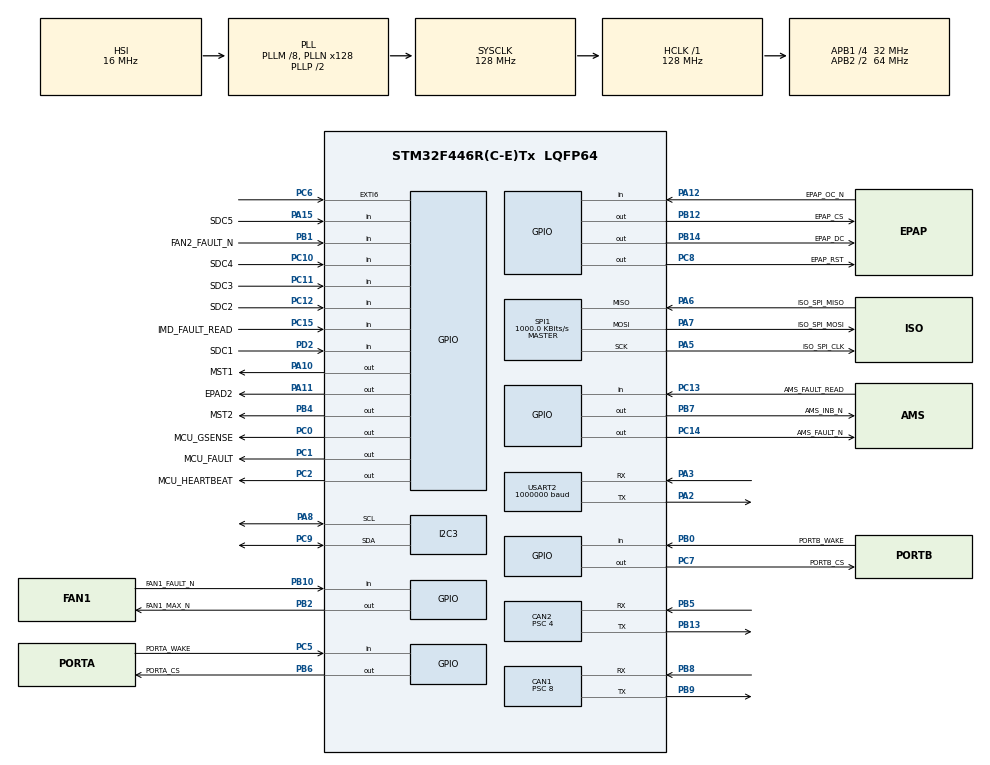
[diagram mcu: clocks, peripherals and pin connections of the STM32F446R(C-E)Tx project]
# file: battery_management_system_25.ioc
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CAN1.ABOM=ENABLE
CAN1.AWUM=ENABLE
CAN1.BS1=CAN_BS1_6TQ
CAN1.CalculateBaudRate=500000
CAN1.CalculateTimeBit=2000
CAN1.CalculateTimeQuantum=250.0
CAN1.Prescaler=8
CAN2.ABOM=ENABLE
CAN2.AWUM=ENABLE
CAN2.BS1=CAN_BS1_6TQ
CAN2.CalculateBaudRate=1000000
CAN2.CalculateTimeBit=1000
CAN2.CalculateTimeQuantum=125.0
CAN2.Prescaler=4
Dma.Request0=SPI1_TX
Dma.Request1=SPI1_RX
Dma.SPI1_RX.1.Direction=DMA_PERIPH_TO_MEMORY
Dma.SPI1_RX.1.FIFOMode=DMA_FIFOMODE_DISABLE
Dma.SPI1_RX.1.Instance=DMA2_Stream2
Dma.SPI1_RX.1.MemDataAlignment=DMA_MDATAALIGN_BYTE
Dma.SPI1_RX.1.MemInc=DMA_MINC_ENABLE
Dma.SPI1_RX.1.Mode=DMA_NORMAL
Dma.SPI1_RX.1.PeriphDataAlignment=DMA_PDATAALIGN_BYTE
Dma.SPI1_RX.1.PeriphInc=DMA_PINC_DISABLE
Dma.SPI1_RX.1.Priority=DMA_PRIORITY_HIGH
Dma.SPI1_TX.0.Direction=DMA_MEMORY_TO_PERIPH
Dma.SPI1_TX.0.FIFOMode=DMA_FIFOMODE_DISABLE
Dma.SPI1_TX.0.Instance=DMA2_Stream3
Dma.SPI1_TX.0.MemDataAlignment=DMA_MDATAALIGN_BYTE
Dma.SPI1_TX.0.MemInc=DMA_MINC_ENABLE
Dma.SPI1_TX.0.Mode=DMA_NORMAL
Dma.SPI1_TX.0.PeriphDataAlignment=DMA_PDATAALIGN_BYTE
Dma.SPI1_TX.0.PeriphInc=DMA_PINC_DISABLE
Dma.SPI1_TX.0.Priority=DMA_PRIORITY_HIGH
FREERTOS.INCLUDE_vTaskDelayUntil=1
FREERTOS.Tasks01=telemetryTask,2,4096,startTelemetryTask,Default,NULL,Static,telemetryTaskBuffer,telemetryControlTaskBlock;printTask,-2,2048,startPrintTask,Default,NULL,Static,printTaskBuffer,printTaskControlBlock;statusUpdateTas,-3,128,startStatusUpdateTask,Default,NULL,Static,statusUpdateTaskBuffer,statusUpdateTaskControlBlock;serviceGcan,0,1024,startServiceGcanTask,Default,NULL,Static,serviceGcanTaskBuffer,serviceGcanTaskControlBlock;chargerTask,1,1024,startChargerTask,Default,NULL,Static,chargerTaskBuffer,chargerTaskControlBlock
Mcu.Family=STM32F4
Mcu.Name=STM32F446R(C-E)Tx
Mcu.Package=LQFP64
NVIC.CAN1_RX0_IRQn=true\:5\:0\:false\:false\:true\:true\:true\:true\:true
NVIC.CAN1_RX1_IRQn=true\:5\:0\:false\:false\:true\:true\:true\:true\:true
NVIC.CAN1_TX_IRQn=true\:5\:0\:false\:false\:true\:true\:true\:true\:true
NVIC.CAN2_RX0_IRQn=true\:5\:0\:false\:false\:true\:true\:true\:true\:true
NVIC.CAN2_RX1_IRQn=true\:5\:0\:false\:false\:true\:true\:true\:true\:true
NVIC.CAN2_TX_IRQn=true\:5\:0\:false\:false\:true\:true\:true\:true\:true
NVIC.DMA2_Stream2_IRQn=true\:5\:0\:true\:false\:true\:false\:false\:true\:true
NVIC.DMA2_Stream3_IRQn=true\:5\:0\:false\:false\:true\:true\:false\:true\:true
NVIC.PriorityGroup=NVIC_PRIORITYGROUP_4
NVIC.SPI1_IRQn=true\:5\:0\:false\:false\:true\:true\:true\:true\:true
NVIC.TIM1_BRK_TIM9_IRQn=true\:5\:0\:false\:false\:true\:true\:true\:true\:true
NVIC.TIM6_DAC_IRQn=true\:15\:0\:false\:false\:true\:false\:false\:true\:true
NVIC.TIM7_IRQn=true\:5\:0\:false\:false\:true\:true\:true\:true\:true
NVIC.TimeBase=TIM6_DAC_IRQn
NVIC.TimeBaseIP=TIM6
PA10.GPIO_Label=MST1
PA10.Signal=GPIO_Output
PA11.GPIO_Label=EPAD2
PA11.Signal=GPIO_Output
PA12.GPIO_Label=EPAP_OC_N
PA12.Signal=GPIO_Input
PA13.Mode=Trace_Asynchronous_SW
PA13.Signal=SYS_JTMS-SWDIO
PA14.Mode=Trace_Asynchronous_SW
PA14.Signal=SYS_JTCK-SWCLK
PA15.GPIO_Label=SDC5
PA15.Signal=GPIO_Input
PA2.Mode=Asynchronous
PA2.Signal=USART2_TX
PA3.Mode=Asynchronous
PA3.Signal=USART2_RX
PA5.GPIO_Label=ISO_SPI_CLK
PA5.Mode=Full_Duplex_Master
PA5.Signal=SPI1_SCK
PA6.GPIO_Label=ISO_SPI_MISO
PA6.Mode=Full_Duplex_Master
PA6.Signal=SPI1_MISO
PA7.GPIO_Label=ISO_SPI_MOSI
PA7.Mode=Full_Duplex_Master
PA7.Signal=SPI1_MOSI
PA8.Mode=I2C
PA8.Signal=I2C3_SCL
PB0.GPIO_Label=PORTB_WAKE
PB0.Signal=GPIO_Input
PB1.GPIO_Label=FAN2_FAULT_N
PB1.Signal=GPIO_Input
PB10.GPIO_Label=FAN1_FAULT_N
PB10.Signal=GPIO_Input
PB12.GPIO_Label=EPAP_CS
PB12.Signal=GPIO_Output
PB13.Mode=CAN_Activate
PB13.Signal=CAN2_TX
PB14.GPIO_Label=EPAP_DC
PB14.Signal=GPIO_Output
PB2.GPIO_Label=FAN1_MAX_N
PB2.Signal=GPIO_Output
PB3.Mode=Trace_Asynchronous_SW
PB3.Signal=SYS_JTDO-SWO
PB4.GPIO_Label=MST2
PB4.Signal=GPIO_Output
PB5.Mode=CAN_Activate
PB5.Signal=CAN2_RX
PB6.GPIO_Label=PORTA_CS
PB6.Signal=GPIO_Output
PB7.GPIO_Label=AMS_INB_N
PB7.Signal=GPIO_Output
PB8.Mode=CAN_Activate
PB8.Signal=CAN1_RX
PB9.Mode=CAN_Activate
PB9.Signal=CAN1_TX
PC0.GPIO_Label=MCU_GSENSE
PC0.Signal=GPIO_Output
PC1.GPIO_Label=MCU_FAULT
PC1.Signal=GPIO_Output
PC10.GPIO_Label=SDC4
PC10.Signal=GPIO_Input
PC11.GPIO_Label=SDC3
PC11.Signal=GPIO_Input
PC12.GPIO_Label=SDC2
PC12.Signal=GPIO_Input
PC13.GPIO_Label=AMS_FAULT_READ
PC13.Signal=GPIO_Input
PC14-OSC32_IN.GPIO_Label=AMS_FAULT_N
PC14-OSC32_IN.Signal=GPIO_Output
PC15-OSC32_OUT.GPIO_Label=IMD_FAULT_READ
PC15-OSC32_OUT.Signal=GPIO_Input
PC2.GPIO_Label=MCU_HEARTBEAT
PC2.Signal=GPIO_Output
PC5.GPIO_Label=PORTA_WAKE
PC5.Signal=GPIO_Input
PC6.Signal=GPXTI6
PC7.GPIO_Label=PORTB_CS
PC7.Signal=GPIO_Output
PC8.GPIO_Label=EPAP_RST
PC8.Signal=GPIO_Output
PC9.Mode=I2C
PC9.Signal=I2C3_SDA
PD2.GPIO_Label=SDC1
PD2.Signal=GPIO_Input
PH0-OSC_IN.Mode=HSE-External-Oscillator
PH0-OSC_IN.Signal=RCC_OSC_IN
PH1-OSC_OUT.Mode=HSE-External-Oscillator
PH1-OSC_OUT.Signal=RCC_OSC_OUT
ProjectManager.HeapSize=0x200
ProjectManager.StackSize=0x400
ProjectManager.TargetToolchain=CMake
RCC.AHBFreq_Value=128000000
RCC.APB1CLKDivider=RCC_HCLK_DIV4
RCC.APB1Freq_Value=32000000
RCC.APB1TimFreq_Value=64000000
RCC.APB2CLKDivider=RCC_HCLK_DIV2
RCC.APB2Freq_Value=64000000
RCC.APB2TimFreq_Value=128000000
RCC.CortexFreq_Value=128000000
RCC.HCLKFreq_Value=128000000
RCC.HSE_VALUE=8000000
RCC.PLLM=8
RCC.PLLN=128
RCC.SYSCLKFreq_VALUE=128000000
RCC.SYSCLKSource=RCC_SYSCLKSOURCE_PLLCLK
RCC.USBFreq_Value=128000000
RCC.VCOOutputFreq_Value=256000000
SPI1.BaudRatePrescaler=SPI_BAUDRATEPRESCALER_64
SPI1.CLKPhase=SPI_PHASE_2EDGE
SPI1.CLKPolarity=SPI_POLARITY_HIGH
SPI1.CalculateBaudRate=1000.0 KBits/s
SPI1.Direction=SPI_DIRECTION_2LINES
SPI1.Mode=SPI_MODE_MASTER
SPI1.VirtualType=VM_MASTER
TIM5.Prescaler=64-1
TIM7.Prescaler=64-1
TIM9.Prescaler=512-1
USART2.BaudRate=1000000
USART2.VirtualMode=VM_ASYNC
VP_FREERTOS_VS_CMSIS_V1.Mode=CMSIS_V1
VP_SYS_VS_tim6.Mode=TIM6
VP_TIM5_VS_ClockSourceINT.Mode=Internal
VP_TIM7_VS_ClockSourceINT.Mode=Enable_Timer
VP_TIM9_VS_ClockSourceINT.Mode=Internal
board=custom

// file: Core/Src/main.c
/* USER CODE BEGIN Header */
/**
  ******************************************************************************
  * @file           : main.c
  * @brief          : Main program body
  ******************************************************************************
  * @attention
  *
  * Copyright (c) 2024 STMicroelectronics.
  * All rights reserved.
  *
  * This software is licensed under terms that can be found in the LICENSE file
  * in the root directory of this software component.
  * If no LICENSE file comes with this software, it is provided AS-IS.
  *
  ******************************************************************************
  */
/* USER CODE END Header */
#include "main.h"
#include "cmsis_os.h"

/* USER CODE BEGIN Includes */
#include <stdbool.h>
#include "printTask.h"
#include "gcanUpdateTask.h"
#include "utils.h"

#include "GopherCAN.h"
#include "gopher_sense.h"

/* USER CODE END Includes */

CAN_HandleTypeDef hcan1;
CAN_HandleTypeDef hcan2;

I2C_HandleTypeDef hi2c3;

SPI_HandleTypeDef hspi1;
DMA_HandleTypeDef hdma_spi1_tx;
DMA_HandleTypeDef hdma_spi1_rx;

TIM_HandleTypeDef htim5;
TIM_HandleTypeDef htim7;
TIM_HandleTypeDef htim9;

UART_HandleTypeDef huart2;

osThreadId telemetryTaskHandle;
uint32_t telemetryTaskBuffer[ 4096 ];
osStaticThreadDef_t telemetryControlTaskBlock;
osThreadId printTaskHandle;
uint32_t printTaskBuffer[ 2048 ];
osStaticThreadDef_t printTaskControlBlock;
osThreadId statusUpdateTasHandle;
uint32_t statusUpdateTaskBuffer[ 128 ];
osStaticThreadDef_t statusUpdateTaskControlBlock;
osThreadId serviceGcanHandle;
uint32_t serviceGcanTaskBuffer[ 1024 ];
osStaticThreadDef_t serviceGcanTaskControlBlock;
osThreadId chargerTaskHandle;
uint32_t chargerTaskBuffer[ 1024 ];
osStaticThreadDef_t chargerTaskControlBlock;
/* USER CODE BEGIN PV */

telemetryTaskData_S telemetryTaskData;
statusUpdateTaskData_S statusUpdateTaskData;
chargerTaskData_S chargerTaskData;

volatile bool usDelayActive;

// Imd pwm status variables
volatile uint32_t imdFrequency;
volatile uint32_t imdDutyCycle;
volatile uint32_t imdLastUpdate;

/* USER CODE END PV */

void SystemClock_Config(void);
static void MX_GPIO_Init(void);
static void MX_DMA_Init(void);
static void MX_TIM7_Init(void);
static void MX_SPI1_Init(void);
static void MX_CAN2_Init(void);
static void MX_TIM9_Init(void);
static void MX_TIM5_Init(void);
static void MX_CAN1_Init(void);
static void MX_I2C3_Init(void);
static void MX_USART2_UART_Init(void);
void startTelemetryTask(void const * argument);
void startPrintTask(void const * argument);
void startStatusUpdateTask(void const * argument);
void startServiceGcanTask(void const * argument);
void startChargerTask(void const * argument);

/* USER CODE BEGIN PFP */
#ifdef __GNUC__
#define PUTCHAR_PROTOTYPE int __io_putchar(int ch)
#define GETCHAR_PROTOTYPE int __io_getchar(void)
#else
#define PUTCHAR_PROTOTYPE int fputc(int ch, FILE *f)
#define GETCHAR_PROTOTYPE int fgetc(FILE *f)
#endif

PUTCHAR_PROTOTYPE
{
  HAL_UART_Transmit(&huart2, (uint8_t *)&ch, 1, HAL_MAX_DELAY);
  return ch;
}

GETCHAR_PROTOTYPE
{
  uint8_t ch = 0;

  /* Clear the Overrun flag just before receiving the first character */
  __HAL_UART_CLEAR_OREFLAG(&huart2);

  /* Wait for reception of a character on the USART RX line and echo this
   * character on console */
  HAL_UART_Receive(&huart2, (uint8_t *)&ch, 1, HAL_MAX_DELAY);
  HAL_UART_Transmit(&huart2, (uint8_t *)&ch, 1, HAL_MAX_DELAY);
  return ch;
}
/* USER CODE END PFP */

/* USER CODE BEGIN 0 */

/*!
  @brief   Interrupt when SPI TX/RX finishes. Unblock task by releasing
  	  	   semaphore
  @param   SPI Handle
*/
void HAL_SPI_TxRxCpltCallback(SPI_HandleTypeDef *hspi)
{
	if (hspi == &hspi1)
	{
		static BaseType_t xHigherPriorityTaskWoken = pdFALSE;
		xTaskNotifyFromISR(telemetryTaskHandle, SPI_SUCCESS, eSetBits, &xHigherPriorityTaskWoken);
		portYIELD_FROM_ISR(xHigherPriorityTaskWoken);
	}
}

void HAL_SPI_TxCpltCallback(SPI_HandleTypeDef *hspi)
{
	if (hspi == &hspi1)
	{
		static BaseType_t xHigherPriorityTaskWoken = pdFALSE;
		xTaskNotifyFromISR(telemetryTaskHandle, SPI_SUCCESS, eSetBits, &xHigherPriorityTaskWoken);
		portYIELD_FROM_ISR(xHigherPriorityTaskWoken);
	}
}

void HAL_SPI_ErrorCallback(SPI_HandleTypeDef *hspi)
{
  if (hspi == &hspi1)
	{
		static BaseType_t xHigherPriorityTaskWoken = pdFALSE;
    xTaskNotifyFromISR(telemetryTaskHandle, SPI_ERROR, eSetBits, &xHigherPriorityTaskWoken);
		portYIELD_FROM_ISR(xHigherPriorityTaskWoken);
	}
}

void HAL_SPI_AbortCpltCallback(SPI_HandleTypeDef *hspi)
{
  if (hspi == &hspi1)
	{
		static BaseType_t xHigherPriorityTaskWoken = pdFALSE;
    xTaskNotifyFromISR(telemetryTaskHandle, SPI_ERROR, eSetBits, &xHigherPriorityTaskWoken);
		portYIELD_FROM_ISR(xHigherPriorityTaskWoken);
	}
}

/*!
  @brief   Interrupt when Timer input capture triggered
  @param   TIM Handle
*/
void HAL_TIM_IC_CaptureCallback(TIM_HandleTypeDef *htim)
{
	if ((htim == &htim9) && (htim->Channel == HAL_TIM_ACTIVE_CHANNEL_1))  // If the interrupt is triggered by channel 1 (Rising edge detection)
	{
    // Record imd update time
    imdLastUpdate = HAL_GetTick();

		// Read the raw IC value of the timer with rising edge detection
		uint32_t inputCaptureRaw = HAL_TIM_ReadCapturedValue(htim, TIM_CHANNEL_1);
    // Prevent divide by 0
		if(inputCaptureRaw != 0)
		{
			// Calculate the Duty Cycle
      // The captured value in channel one contains the timestamp of the falling edge. Since the timer is reset
      // on a rising edge this contains the pulse width of the high time. This value is then divided by
      // inputCaptureRaw - which is the period of the PWM cycle in timer ticks to get duty cycle
			imdDutyCycle = (HAL_TIM_ReadCapturedValue(htim, TIM_CHANNEL_2) * 100) / inputCaptureRaw;

      // Calculate the Frequency
      // The timer CLK runs at 2x frequency of PCLK2. This is then divided by the prescalar.
      uint32_t timerFrequency = (HAL_RCC_GetPCLK2Freq() * 2) / htim9.Init.Prescaler;
      // Frequency scaling
			imdFrequency =  timerFrequency / inputCaptureRaw;
		}
	}
}

/* USER CODE END 0 */

int main(void)
{

  /* USER CODE BEGIN 1 */
  // while (1){

  //   printf("hi");

  // }

  /* USER CODE END 1 */

  /* MCU Configuration--------------------------------------------------------*/

  /* Reset of all peripherals, Initializes the Flash interface and the Systick. */
  HAL_Init();

  /* Configure the system clock */
  SystemClock_Config();

  /* Initialize all configured peripherals */
  MX_GPIO_Init();
  MX_DMA_Init();
  MX_TIM7_Init();
  MX_SPI1_Init();
  MX_CAN2_Init();
  MX_TIM9_Init();
  MX_TIM5_Init();
  MX_CAN1_Init();
  MX_I2C3_Init();
  MX_USART2_UART_Init();
  /* USER CODE BEGIN 2 */

  // Start IMD input capture
  HAL_TIM_IC_Start_IT(&htim9, TIM_CHANNEL_1);
  HAL_TIM_IC_Start(&htim9, TIM_CHANNEL_2);

  // Start global timebase uS timer
  HAL_TIM_Base_Start(&htim5);

  init_can(&hcan1, GCAN2);
  init_can(&hcan2, GCAN0);
  gsense_init(&hcan2, MCU_GSENSE_GPIO_Port, MCU_GSENSE_Pin);

  /* USER CODE END 2 */

  /* Create the thread(s) */
  /* definition and creation of telemetryTask */
  osThreadStaticDef(telemetryTask, startTelemetryTask, osPriorityHigh, 0, 4096, telemetryTaskBuffer, &telemetryControlTaskBlock);
  telemetryTaskHandle = osThreadCreate(osThread(telemetryTask), NULL);

  /* definition and creation of printTask */
  osThreadStaticDef(printTask, startPrintTask, osPriorityLow, 0, 2048, printTaskBuffer, &printTaskControlBlock);
  printTaskHandle = osThreadCreate(osThread(printTask), NULL);

  /* definition and creation of statusUpdateTas */
  osThreadStaticDef(statusUpdateTas, startStatusUpdateTask, osPriorityIdle, 0, 128, statusUpdateTaskBuffer, &statusUpdateTaskControlBlock);
  statusUpdateTasHandle = osThreadCreate(osThread(statusUpdateTas), NULL);

  /* definition and creation of serviceGcan */
  osThreadStaticDef(serviceGcan, startServiceGcanTask, osPriorityNormal, 0, 1024, serviceGcanTaskBuffer, &serviceGcanTaskControlBlock);
  serviceGcanHandle = osThreadCreate(osThread(serviceGcan), NULL);

  /* definition and creation of chargerTask */
  osThreadStaticDef(chargerTask, startChargerTask, osPriorityAboveNormal, 0, 1024, chargerTaskBuffer, &chargerTaskControlBlock);
  chargerTaskHandle = osThreadCreate(osThread(chargerTask), NULL);

  /* Start scheduler */
  osKernelStart();

  /* We should never get here as control is now taken by the scheduler */

  /* Infinite loop */
  while (1)
  {

  }
}

void SystemClock_Config(void)
{
  RCC_OscInitTypeDef RCC_OscInitStruct = {0};
  RCC_ClkInitTypeDef RCC_ClkInitStruct = {0};

  /** Configure the main internal regulator output voltage
  */
  __HAL_RCC_PWR_CLK_ENABLE();
  __HAL_PWR_VOLTAGESCALING_CONFIG(PWR_REGULATOR_VOLTAGE_SCALE2);

  /** Initializes the RCC Oscillators according to the specified parameters
  * in the RCC_OscInitTypeDef structure.
  */
  RCC_OscInitStruct.OscillatorType = RCC_OSCILLATORTYPE_HSI;
  RCC_OscInitStruct.HSIState = RCC_HSI_ON;
  RCC_OscInitStruct.HSICalibrationValue = RCC_HSICALIBRATION_DEFAULT;
  RCC_OscInitStruct.PLL.PLLState = RCC_PLL_ON;
  RCC_OscInitStruct.PLL.PLLSource = RCC_PLLSOURCE_HSI;
  RCC_OscInitStruct.PLL.PLLM = 8;
  RCC_OscInitStruct.PLL.PLLN = 128;
  RCC_OscInitStruct.PLL.PLLP = RCC_PLLP_DIV2;
  RCC_OscInitStruct.PLL.PLLQ = 2;
  RCC_OscInitStruct.PLL.PLLR = 2;
  if (HAL_RCC_OscConfig(&RCC_OscInitStruct) != HAL_OK)
  {
    Error_Handler();
  }

  /** Initializes the CPU, AHB and APB buses clocks
  */
  RCC_ClkInitStruct.ClockType = RCC_CLOCKTYPE_HCLK|RCC_CLOCKTYPE_SYSCLK
                              |RCC_CLOCKTYPE_PCLK1|RCC_CLOCKTYPE_PCLK2;
  RCC_ClkInitStruct.SYSCLKSource = RCC_SYSCLKSOURCE_PLLCLK;
  RCC_ClkInitStruct.AHBCLKDivider = RCC_SYSCLK_DIV1;
  RCC_ClkInitStruct.APB1CLKDivider = RCC_HCLK_DIV4;
  RCC_ClkInitStruct.APB2CLKDivider = RCC_HCLK_DIV2;

  if (HAL_RCC_ClockConfig(&RCC_ClkInitStruct, FLASH_LATENCY_4) != HAL_OK)
  {
    Error_Handler();
  }
}

static void MX_CAN1_Init(void)
{

  hcan1.Instance = CAN1;
  hcan1.Init.Prescaler = 8;
  hcan1.Init.Mode = CAN_MODE_NORMAL;
  hcan1.Init.SyncJumpWidth = CAN_SJW_1TQ;
  hcan1.Init.TimeSeg1 = CAN_BS1_6TQ;
  hcan1.Init.TimeSeg2 = CAN_BS2_1TQ;
  hcan1.Init.TimeTriggeredMode = DISABLE;
  hcan1.Init.AutoBusOff = ENABLE;
  hcan1.Init.AutoWakeUp = ENABLE;
  hcan1.Init.AutoRetransmission = DISABLE;
  hcan1.Init.ReceiveFifoLocked = DISABLE;
  hcan1.Init.TransmitFifoPriority = DISABLE;
  if (HAL_CAN_Init(&hcan1) != HAL_OK)
  {
    Error_Handler();
  }

}

static void MX_CAN2_Init(void)
{

  hcan2.Instance = CAN2;
  hcan2.Init.Prescaler = 4;
  hcan2.Init.Mode = CAN_MODE_NORMAL;
  hcan2.Init.SyncJumpWidth = CAN_SJW_1TQ;
  hcan2.Init.TimeSeg1 = CAN_BS1_6TQ;
  hcan2.Init.TimeSeg2 = CAN_BS2_1TQ;
  hcan2.Init.TimeTriggeredMode = DISABLE;
  hcan2.Init.AutoBusOff = ENABLE;
  hcan2.Init.AutoWakeUp = ENABLE;
  hcan2.Init.AutoRetransmission = DISABLE;
  hcan2.Init.ReceiveFifoLocked = DISABLE;
  hcan2.Init.TransmitFifoPriority = DISABLE;
  if (HAL_CAN_Init(&hcan2) != HAL_OK)
  {
    Error_Handler();
  }

}

static void MX_I2C3_Init(void)
{

  hi2c3.Instance = I2C3;
  hi2c3.Init.ClockSpeed = 100000;
  hi2c3.Init.DutyCycle = I2C_DUTYCYCLE_2;
  hi2c3.Init.OwnAddress1 = 0;
  hi2c3.Init.AddressingMode = I2C_ADDRESSINGMODE_7BIT;
  hi2c3.Init.DualAddressMode = I2C_DUALADDRESS_DISABLE;
  hi2c3.Init.OwnAddress2 = 0;
  hi2c3.Init.GeneralCallMode = I2C_GENERALCALL_DISABLE;
  hi2c3.Init.NoStretchMode = I2C_NOSTRETCH_DISABLE;
  if (HAL_I2C_Init(&hi2c3) != HAL_OK)
  {
    Error_Handler();
  }

}

static void MX_SPI1_Init(void)
{

  /* SPI1 parameter configuration*/
  hspi1.Instance = SPI1;
  hspi1.Init.Mode = SPI_MODE_MASTER;
  hspi1.Init.Direction = SPI_DIRECTION_2LINES;
  hspi1.Init.DataSize = SPI_DATASIZE_8BIT;
  hspi1.Init.CLKPolarity = SPI_POLARITY_HIGH;
  hspi1.Init.CLKPhase = SPI_PHASE_2EDGE;
  hspi1.Init.NSS = SPI_NSS_SOFT;
  hspi1.Init.BaudRatePrescaler = SPI_BAUDRATEPRESCALER_64;
  hspi1.Init.FirstBit = SPI_FIRSTBIT_MSB;
  hspi1.Init.TIMode = SPI_TIMODE_DISABLE;
  hspi1.Init.CRCCalculation = SPI_CRCCALCULATION_DISABLE;
  hspi1.Init.CRCPolynomial = 10;
  if (HAL_SPI_Init(&hspi1) != HAL_OK)
  {
    Error_Handler();
  }

}

static void MX_TIM5_Init(void)
{

  TIM_ClockConfigTypeDef sClockSourceConfig = {0};
  TIM_MasterConfigTypeDef sMasterConfig = {0};

  htim5.Instance = TIM5;
  htim5.Init.Prescaler = 64-1;
  htim5.Init.CounterMode = TIM_COUNTERMODE_UP;
  htim5.Init.Period = 4294967295;
  htim5.Init.ClockDivision = TIM_CLOCKDIVISION_DIV1;
  htim5.Init.AutoReloadPreload = TIM_AUTORELOAD_PRELOAD_DISABLE;
  if (HAL_TIM_Base_Init(&htim5) != HAL_OK)
  {
    Error_Handler();
  }
  sClockSourceConfig.ClockSource = TIM_CLOCKSOURCE_INTERNAL;
  if (HAL_TIM_ConfigClockSource(&htim5, &sClockSourceConfig) != HAL_OK)
  {
    Error_Handler();
  }
  sMasterConfig.MasterOutputTrigger = TIM_TRGO_RESET;
  sMasterConfig.MasterSlaveMode = TIM_MASTERSLAVEMODE_DISABLE;
  if (HAL_TIMEx_MasterConfigSynchronization(&htim5, &sMasterConfig) != HAL_OK)
  {
    Error_Handler();
  }

}

static void MX_TIM7_Init(void)
{

  TIM_MasterConfigTypeDef sMasterConfig = {0};

  htim7.Instance = TIM7;
  htim7.Init.Prescaler = 64-1;
  htim7.Init.CounterMode = TIM_COUNTERMODE_UP;
  htim7.Init.Period = 65535;
  htim7.Init.AutoReloadPreload = TIM_AUTORELOAD_PRELOAD_DISABLE;
  if (HAL_TIM_Base_Init(&htim7) != HAL_OK)
  {
    Error_Handler();
  }
  sMasterConfig.MasterOutputTrigger = TIM_TRGO_RESET;
  sMasterConfig.MasterSlaveMode = TIM_MASTERSLAVEMODE_DISABLE;
  if (HAL_TIMEx_MasterConfigSynchronization(&htim7, &sMasterConfig) != HAL_OK)
  {
    Error_Handler();
  }

}

static void MX_TIM9_Init(void)
{

  TIM_ClockConfigTypeDef sClockSourceConfig = {0};

  htim9.Instance = TIM9;
  htim9.Init.Prescaler = 512-1;
  htim9.Init.CounterMode = TIM_COUNTERMODE_UP;
  htim9.Init.Period = 65535;
  htim9.Init.ClockDivision = TIM_CLOCKDIVISION_DIV1;
  htim9.Init.AutoReloadPreload = TIM_AUTORELOAD_PRELOAD_DISABLE;
  if (HAL_TIM_Base_Init(&htim9) != HAL_OK)
  {
    Error_Handler();
  }
  sClockSourceConfig.ClockSource = TIM_CLOCKSOURCE_INTERNAL;
  if (HAL_TIM_ConfigClockSource(&htim9, &sClockSourceConfig) != HAL_OK)
  {
    Error_Handler();
  }

}

static void MX_USART2_UART_Init(void)
{

  huart2.Instance = USART2;
  huart2.Init.BaudRate = 1000000;
  huart2.Init.WordLength = UART_WORDLENGTH_8B;
  huart2.Init.StopBits = UART_STOPBITS_1;
  huart2.Init.Parity = UART_PARITY_NONE;
  huart2.Init.Mode = UART_MODE_TX_RX;
  huart2.Init.HwFlowCtl = UART_HWCONTROL_NONE;
  huart2.Init.OverSampling = UART_OVERSAMPLING_16;
  if (HAL_UART_Init(&huart2) != HAL_OK)
  {
    Error_Handler();
  }

}

static void MX_DMA_Init(void)
{

  /* DMA controller clock enable */
  __HAL_RCC_DMA2_CLK_ENABLE();

  /* DMA interrupt init */
  /* DMA2_Stream2_IRQn interrupt configuration */
  HAL_NVIC_SetPriority(DMA2_Stream2_IRQn, 5, 0);
  HAL_NVIC_EnableIRQ(DMA2_Stream2_IRQn);
  /* DMA2_Stream3_IRQn interrupt configuration */
  HAL_NVIC_SetPriority(DMA2_Stream3_IRQn, 5, 0);
  HAL_NVIC_EnableIRQ(DMA2_Stream3_IRQn);

}

static void MX_GPIO_Init(void)
{
  GPIO_InitTypeDef GPIO_InitStruct = {0};

  /* GPIO Ports Clock Enable */
  __HAL_RCC_GPIOC_CLK_ENABLE();
  __HAL_RCC_GPIOH_CLK_ENABLE();
  __HAL_RCC_GPIOA_CLK_ENABLE();
  __HAL_RCC_GPIOB_CLK_ENABLE();
  __HAL_RCC_GPIOD_CLK_ENABLE();

  /*Configure GPIO pin Output Level */
  HAL_GPIO_WritePin(GPIOC, AMS_FAULT_N_Pin|MCU_GSENSE_Pin|MCU_FAULT_Pin|MCU_HEARTBEAT_Pin
                          |PORTB_CS_Pin|EPAP_RST_Pin, GPIO_PIN_RESET);

  /*Configure GPIO pin Output Level */
  HAL_GPIO_WritePin(GPIOB, FAN1_MAX_N_Pin|EPAP_CS_Pin|EPAP_DC_Pin|MST2_Pin
                          |PORTA_CS_Pin|AMS_INB_N_Pin, GPIO_PIN_RESET);

  /*Configure GPIO pin Output Level */
  HAL_GPIO_WritePin(GPIOA, MST1_Pin|EPAD2_Pin, GPIO_PIN_RESET);

  /*Configure GPIO pins : AMS_FAULT_READ_Pin IMD_FAULT_READ_Pin PORTA_WAKE_Pin SDC4_Pin
                           SDC3_Pin SDC2_Pin */
  GPIO_InitStruct.Pin = AMS_FAULT_READ_Pin|IMD_FAULT_READ_Pin|PORTA_WAKE_Pin|SDC4_Pin
                          |SDC3_Pin|SDC2_Pin;
  GPIO_InitStruct.Mode = GPIO_MODE_INPUT;
  GPIO_InitStruct.Pull = GPIO_NOPULL;
  HAL_GPIO_Init(GPIOC, &GPIO_InitStruct);

  /*Configure GPIO pins : AMS_FAULT_N_Pin MCU_GSENSE_Pin MCU_FAULT_Pin MCU_HEARTBEAT_Pin
                           PORTB_CS_Pin EPAP_RST_Pin */
  GPIO_InitStruct.Pin = AMS_FAULT_N_Pin|MCU_GSENSE_Pin|MCU_FAULT_Pin|MCU_HEARTBEAT_Pin
                          |PORTB_CS_Pin|EPAP_RST_Pin;
  GPIO_InitStruct.Mode = GPIO_MODE_OUTPUT_PP;
  GPIO_InitStruct.Pull = GPIO_NOPULL;
  GPIO_InitStruct.Speed = GPIO_SPEED_FREQ_LOW;
  HAL_GPIO_Init(GPIOC, &GPIO_InitStruct);

  /*Configure GPIO pins : PORTB_WAKE_Pin FAN2_FAULT_N_Pin FAN1_FAULT_N_Pin */
  GPIO_InitStruct.Pin = PORTB_WAKE_Pin|FAN2_FAULT_N_Pin|FAN1_FAULT_N_Pin;
  GPIO_InitStruct.Mode = GPIO_MODE_INPUT;
  GPIO_InitStruct.Pull = GPIO_NOPULL;
  HAL_GPIO_Init(GPIOB, &GPIO_InitStruct);

  /*Configure GPIO pins : FAN1_MAX_N_Pin EPAP_CS_Pin EPAP_DC_Pin MST2_Pin
                           PORTA_CS_Pin AMS_INB_N_Pin */
  GPIO_InitStruct.Pin = FAN1_MAX_N_Pin|EPAP_CS_Pin|EPAP_DC_Pin|MST2_Pin
                          |PORTA_CS_Pin|AMS_INB_N_Pin;
  GPIO_InitStruct.Mode = GPIO_MODE_OUTPUT_PP;
  GPIO_InitStruct.Pull = GPIO_NOPULL;
  GPIO_InitStruct.Speed = GPIO_SPEED_FREQ_LOW;
  HAL_GPIO_Init(GPIOB, &GPIO_InitStruct);

  /*Configure GPIO pin : PC6 */
  GPIO_InitStruct.Pin = GPIO_PIN_6;
  GPIO_InitStruct.Mode = GPIO_MODE_IT_RISING;
  GPIO_InitStruct.Pull = GPIO_NOPULL;
  HAL_GPIO_Init(GPIOC, &GPIO_InitStruct);

  /*Configure GPIO pins : MST1_Pin EPAD2_Pin */
  GPIO_InitStruct.Pin = MST1_Pin|EPAD2_Pin;
  GPIO_InitStruct.Mode = GPIO_MODE_OUTPUT_PP;
  GPIO_InitStruct.Pull = GPIO_NOPULL;
  GPIO_InitStruct.Speed = GPIO_SPEED_FREQ_LOW;
  HAL_GPIO_Init(GPIOA, &GPIO_InitStruct);

  /*Configure GPIO pins : EPAP_OC_N_Pin SDC5_Pin */
  GPIO_InitStruct.Pin = EPAP_OC_N_Pin|SDC5_Pin;
  GPIO_InitStruct.Mode = GPIO_MODE_INPUT;
  GPIO_InitStruct.Pull = GPIO_NOPULL;
  HAL_GPIO_Init(GPIOA, &GPIO_InitStruct);

  /*Configure GPIO pin : SDC1_Pin */
  GPIO_InitStruct.Pin = SDC1_Pin;
  GPIO_InitStruct.Mode = GPIO_MODE_INPUT;
  GPIO_InitStruct.Pull = GPIO_NOPULL;
  HAL_GPIO_Init(SDC1_GPIO_Port, &GPIO_InitStruct);

}

void startTelemetryTask(void const * argument)
{
  /* USER CODE BEGIN 5 */
  initTelemetryTask();
  TickType_t lastTelemetryTaskTick;
  const TickType_t telemetryTaskPeriod = pdMS_TO_TICKS(TELEMETRY_TASK_PERIOD_MS);

  /* Infinite loop */
  for(;;)
  {
    // uint32_t taskStart = HAL_GetTick();
    runTelemetryTask();
    // printf("%lu\n", (HAL_GetTick()-taskStart));

    vTaskDelayUntil(&lastTelemetryTaskTick, telemetryTaskPeriod);
  }
  /* USER CODE END 5 */
}

void startPrintTask(void const * argument)
{
  /* USER CODE BEGIN startPrintTask */
  initPrintTask();
  TickType_t lastPrintTaskTick;
  const TickType_t printTaskPeriod = pdMS_TO_TICKS(PRINT_TASK_PERIOD_MS);

  /* Infinite loop */
  for(;;)
  {
    // uint32_t taskStart = HAL_GetTick();
    runPrintTask();
    // printf("PrintTaskTime: %lu\n", (HAL_GetTick()-taskStart));

    vTaskDelayUntil(&lastPrintTaskTick, printTaskPeriod);
    // osDelay(1000);
  }
  /* USER CODE END startPrintTask */
}

void startStatusUpdateTask(void const * argument)
{
  /* USER CODE BEGIN startStatusUpdateTask */
  initStatusUpdateTask();
  TickType_t lastStatusUpdateTaskTick;
  const TickType_t statusUpdateTaskPeriod = pdMS_TO_TICKS(STATUS_UPDATE_TASK_PERIOD_MS);

  /* Infinite loop */
  for(;;)
  {
    runStatusUpdateTask();
    vTaskDelayUntil(&lastStatusUpdateTaskTick, statusUpdateTaskPeriod);
  }
  /* USER CODE END startStatusUpdateTask */
}

void startServiceGcanTask(void const * argument)
{
  /* USER CODE BEGIN startServiceGcanTask */
  initGcanUpdateTask();
  TickType_t lastGcanUpdateTaskTick;
  const TickType_t gcanUpdateTaskPeriod = pdMS_TO_TICKS(GCAN_UPDATE_TASK_PERIOD_MS);
  /* Infinite loop */
  for(;;)
  {
    runGcanUpdateTask();
    vTaskDelayUntil(&lastGcanUpdateTaskTick, gcanUpdateTaskPeriod);
  }
  /* USER CODE END startServiceGcanTask */
}

void startChargerTask(void const * argument)
{
  /* USER CODE BEGIN startChargerTask */
  initChargerTask();
  TickType_t lastChargerTaskTick;
  const TickType_t chargerTaskPeriod = pdMS_TO_TICKS(CHARGER_TASK_PERIOD_MS);
  /* Infinite loop */
  for(;;)
  {
    runChargerTask();
    vTaskDelayUntil(&lastChargerTaskTick, chargerTaskPeriod);
  }
  /* USER CODE END startChargerTask */
}

void HAL_TIM_PeriodElapsedCallback(TIM_HandleTypeDef *htim)
{
  if (htim->Instance == TIM6) {
    HAL_IncTick();
  }
  /* USER CODE BEGIN Callback 1 */
  if (htim->Instance == TIM7) {
    usDelayActive = false;
    HAL_TIM_Base_Stop_IT(&htim7);
    static BaseType_t xHigherPriorityTaskWoken = pdFALSE;
		xTaskNotifyFromISR(telemetryTaskHandle, 0, eNoAction, &xHigherPriorityTaskWoken);
		portYIELD_FROM_ISR(xHigherPriorityTaskWoken);
  }
  /* USER CODE END Callback 1 */
}

void Error_Handler(void)
{
  __disable_irq();
  while (1)
  {
  }
}
